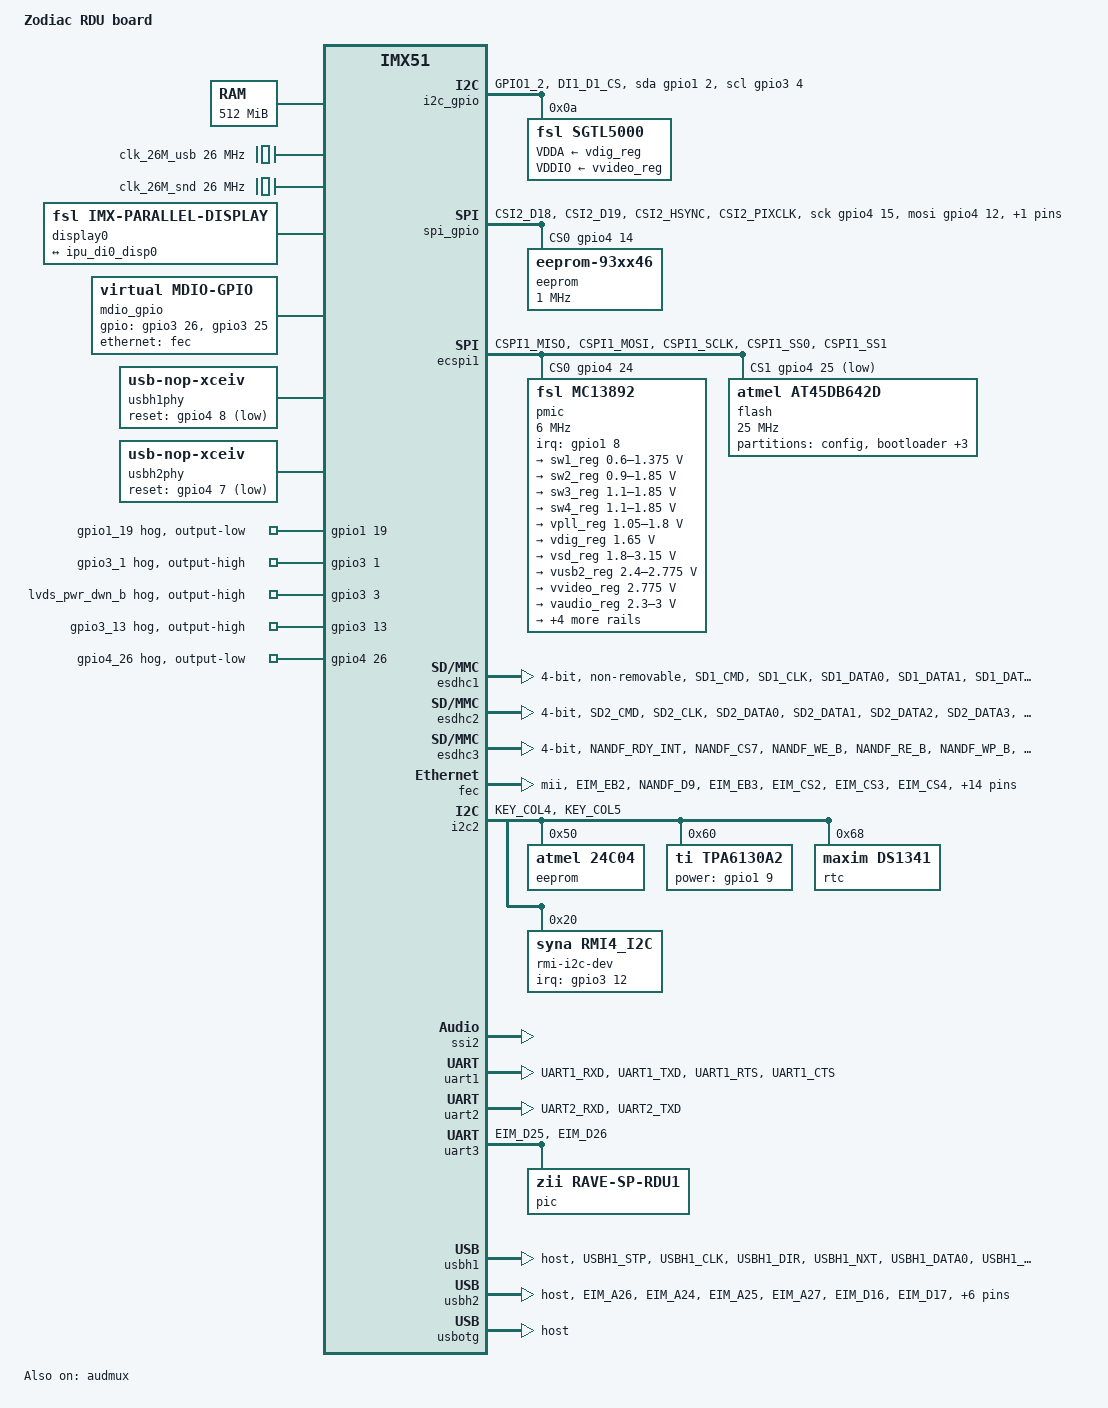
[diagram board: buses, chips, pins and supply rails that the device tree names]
/*
 * Copyright 2011 Freescale Semiconductor, Inc.
 *
 * The code contained herein is licensed under the GNU General Public
 * License. You may obtain a copy of the GNU General Public License
 * Version 2 or later at the following locations:
 *
 * http://www.opensource.org/licenses/gpl-license.html
 * http://www.gnu.org/copyleft/gpl.html
 */

/dts-v1/;
#include "imx51.dtsi"

/ {
	model = "Zodiac RDU board";
	compatible = "fsl,imx51-zodiac-rdu-c", "fsl,imx51";

	chosen {
		stdout-path = &uart1;
	};

	memory {
		reg = <0x90000000 0x20000000>;
	};

	clocks {
		/*
		 * Actualy this clocks have gpio-controlable parent
		 * and each of them also has gpio-controlable gate.
		 * For now this pins are gpio-hogged and no runtime
		 * clock enable-disable happens.
		 */
		clk_26M_usb: usbhost_clock {
			compatible = "fixed-clock";
			#clock-cells = <0>;
			clock-frequency = <26000000>;
		};

		clk_26M_snd: snd_clock {
			compatible = "fixed-clock";
			#clock-cells = <0>;
			clock-frequency = <26000000>;
		};
	};

	display0: display@di0 {
		compatible = "fsl,imx-parallel-display";
		interface-pix-fmt = "rgb24";
		pinctrl-names = "default";
		pinctrl-0 = <&pinctrl_ipu_disp1>;

		display-timings {
			native-mode = <&toshiba>;
			toshiba: toshiba89 {
				clock-frequency = <80000000>;
				hactive = <1280>;
				vactive = <768>;
				hback-porch = <64>; /* 192 - 128 */
				hsync-len = <128>;
				hfront-porch = <64>;
				vback-porch = <13>; /* 20 - 7 */
				vsync-len = <7>;
				vfront-porch = <3>;
				pixelclk-active = <0>;
				hsync-active = <1>;
				vsync-active = <1>;
				de-active = <0>;
			};
		};

		port {
			display0_in: endpoint {
				remote-endpoint = <&ipu_di0_disp0>;
			};
		};
	};

	regulators {
		compatible = "simple-bus";
		#address-cells = <1>;
		#size-cells = <0>;
	};

	i2c_gpio: i2c-gpio {
		compatible = "i2c-gpio";
		pinctrl-names = "default";
		pinctrl-0 = <&pinctrl_swi2c>;
		gpios = <&gpio1 2 GPIO_ACTIVE_HIGH>, /* sda */
			<&gpio3 4 GPIO_ACTIVE_HIGH>; /* scl */
		i2c-gpio,scl-output-only;
		i2c-gpio,delay-us = <50>;
		#address-cells = <1>;
		#size-cells = <0>;
		status = "okay";

		sgtl5000: codec@0a {
			compatible = "fsl,sgtl5000";
			reg = <0x0a>;
			clocks = <&clk_26M_snd>;
			VDDA-supply = <&vdig_reg>;
			VDDIO-supply = <&vvideo_reg>;
		};
	};

	spi_gpio: spi-gpio {
		compatible = "spi-gpio";
		#address-cells = <1>;
		#size-cells = <0>;
		pinctrl-names = "default";
		pinctrl-0 = <&pinctrl_gpiospi0>;
		status = "okay";

		gpio-sck = <&gpio4 15 GPIO_ACTIVE_HIGH>;
		gpio-mosi = <&gpio4 12 GPIO_ACTIVE_HIGH>;
		gpio-miso = <&gpio4 11 GPIO_ACTIVE_HIGH>;
		num-chipselects = <1>;
		cs-gpios = <
			&gpio4 14 GPIO_ACTIVE_HIGH
		>;

		eeprom@0 {
			compatible = "eeprom-93xx46";
			reg = <0>;
			spi-max-frequency = <1000000>;
			spi-cs-high;
			data-size = <8>;
		};
	};

	mdio_gpio: mdio-gpio {
		compatible = "virtual,mdio-gpio";
		pinctrl-names = "default";
		pinctrl-0 = <&pinctrl_swmdio>;
		gpios = <&gpio3 26 GPIO_ACTIVE_HIGH>, /* mdc */
			<&gpio3 25 GPIO_ACTIVE_HIGH>; /* mdio */
		#address-cells = <1>;
		#size-cells = <0>;

		switch@0 {
			compatible = "marvell,mv88e6085";
			#address-cells = <1>;
			#size-cells = <0>;
			reg = <0>;
			dsa,member = <0 0>;

			ports {
				#address-cells = <1>;
				#size-cells = <0>;

				port@0 {
					reg = <0>;
					label = "cpu";
					ethernet = <&fec>;

					fixed-link {
						speed = <100>;
						full-duplex;
					};
				};

				port@1 {
					reg = <1>;
					label = "netaux";
				};

				port@3 {
					reg = <3>;
					label = "netright";
				};

				port@4 {
					reg = <4>;
					label = "netleft";
				};
			};
		};
	};

	sound {
		compatible = "fsl,imx51-babbage-sgtl5000",
			     "fsl,imx-audio-sgtl5000";
		model = "imx51-babbage-sgtl5000";
		ssi-controller = <&ssi2>;
		audio-codec = <&sgtl5000>;
		headphone-amplifier = <&tpa6130a2>;
		audio-routing =
			"MIC_IN", "Mic Jack",
			"Mic Jack", "Mic Bias",
			"Headphone Jack", "HP_OUT";
		mux-int-port = <2>;
		mux-ext-port = <3>;
	};

	usbphy {
		#address-cells = <1>;
		#size-cells = <0>;
		compatible = "simple-bus";

		usbh1phy: usbphy@1 {
			compatible = "usb-nop-xceiv";
			pinctrl-names = "default";
			pinctrl-0 = <&pinctrl_usbh1phy>;
			reg = <1>;
			clocks = <&clk_26M_usb>;
			clock-names = "main_clk";
			reset-gpios = <&gpio4 8 GPIO_ACTIVE_LOW>;
		};

		usbh2phy: usbphy@2 {
			compatible = "usb-nop-xceiv";
			pinctrl-names = "default";
			pinctrl-0 = <&pinctrl_usbh2phy>;
			reg = <2>;
			clocks = <&clk_26M_usb>;
			clock-names = "main_clk";
			reset-gpios = <&gpio4 7 GPIO_ACTIVE_LOW>;
		};
	};
};

&audmux {
	pinctrl-names = "default";
	pinctrl-0 = <&pinctrl_audmux>;
	status = "okay";
};

&ecspi1 {
	pinctrl-names = "default";
	pinctrl-0 = <&pinctrl_ecspi1>;
	fsl,spi-num-chipselects = <2>;
	cs-gpios = <&gpio4 24 GPIO_ACTIVE_HIGH>,
		   <&gpio4 25 GPIO_ACTIVE_LOW>;
	status = "okay";

	pmic: mc13892@0 {
		compatible = "fsl,mc13892";
		pinctrl-names = "default";
		pinctrl-0 = <&pinctrl_pmic>;
		spi-max-frequency = <6000000>;
		spi-cs-high;
		reg = <0>;
		interrupt-parent = <&gpio1>;
		interrupts = <8 IRQ_TYPE_LEVEL_HIGH>;
		fsl,mc13xxx-uses-rtc;
		fsl,mc13xxx-uses-adc;

		regulators {
			sw1_reg: sw1 {
				regulator-min-microvolt = <600000>;
				regulator-max-microvolt = <1375000>;
				regulator-boot-on;
				regulator-always-on;
			};

			sw2_reg: sw2 {
				regulator-min-microvolt = <900000>;
				regulator-max-microvolt = <1850000>;
				regulator-boot-on;
				regulator-always-on;
			};

			sw3_reg: sw3 {
				regulator-min-microvolt = <1100000>;
				regulator-max-microvolt = <1850000>;
				regulator-boot-on;
				regulator-always-on;
			};

			sw4_reg: sw4 {
				regulator-min-microvolt = <1100000>;
				regulator-max-microvolt = <1850000>;
				regulator-boot-on;
				regulator-always-on;
			};

			vpll_reg: vpll {
				regulator-min-microvolt = <1050000>;
				regulator-max-microvolt = <1800000>;
				regulator-boot-on;
				regulator-always-on;
			};

			vdig_reg: vdig {
				regulator-min-microvolt = <1650000>;
				regulator-max-microvolt = <1650000>;
				regulator-boot-on;
			};

			vsd_reg: vsd {
				regulator-min-microvolt = <1800000>;
				regulator-max-microvolt = <3150000>;
			};

			vusb2_reg: vusb2 {
				regulator-min-microvolt = <2400000>;
				regulator-max-microvolt = <2775000>;
				regulator-boot-on;
				regulator-always-on;
			};

			vvideo_reg: vvideo {
				regulator-min-microvolt = <2775000>;
				regulator-max-microvolt = <2775000>;
			};

			vaudio_reg: vaudio {
				regulator-min-microvolt = <2300000>;
				regulator-max-microvolt = <3000000>;
			};

			vcam_reg: vcam {
				regulator-min-microvolt = <2500000>;
				regulator-max-microvolt = <3000000>;
			};

			vgen1_reg: vgen1 {
				regulator-min-microvolt = <1200000>;
				regulator-max-microvolt = <1200000>;
			};

			vgen2_reg: vgen2 {
				regulator-min-microvolt = <1200000>;
				regulator-max-microvolt = <3150000>;
				regulator-always-on;
			};

			vgen3_reg: vgen3 {
				regulator-min-microvolt = <1800000>;
				regulator-max-microvolt = <2900000>;
				regulator-always-on;
			};
		};

		leds {
			#address-cells = <1>;
			#size-cells = <0>;
			led-control = <0x0 0x0 0x3f83f8 0x0>;

			sysled0 {
				reg = <3>;
				label = "system:green:status";
				linux,default-trigger = "default-on";
			};

			sysled1 {
				reg = <4>;
				label = "system:green:act";
				linux,default-trigger = "heartbeat";
			};
		};
	};

	flash: at45db642d@1 {
		#address-cells = <1>;
		#size-cells = <1>;
		compatible = "atmel,at45db642d", "atmel,at45", "atmel,dataflash";
		spi-max-frequency = <25000000>;
		reg = <1>;

		partition@0 {
			label = "config";
			reg = <0x0 0x00000400>;
		};

		partition@400 {
			label = "bootloader";
			reg = <0x00000400 0x000BFC00>;
		};

		partition@c000 {
			label = "bootloader-environment";
			reg = <0x000c0000 0x00040000>;
		};

		partition@100000 {
			label = "kernel";
			reg = <0x00100000 0x00300000>;
		};

		partition@400000 {
			label = "rootfs";
			reg = <0x00400000 0x00400000>;
		};
	};
};

/* eMMC */
&esdhc1 {
	pinctrl-names = "default";
	pinctrl-0 = <&pinctrl_esdhc1>;
	bus-width = <4>;
	non-removable;
	status = "okay";
};

&esdhc2 {
	pinctrl-names = "default";
	pinctrl-0 = <&pinctrl_esdhc2>;
	bus-width = <4>;
	cd-gpios = <&gpio1 6 GPIO_ACTIVE_LOW>;
	wp-gpios = <&gpio1 5 GPIO_ACTIVE_HIGH>;
	status = "okay";
};

&esdhc3 {
	pinctrl-names = "default";
	pinctrl-0 = <&pinctrl_esdhc3>;
	bus-width = <4>;
	cd-gpios = <&gpio1 0 GPIO_ACTIVE_LOW>;
	wp-gpios = <&gpio1 1 GPIO_ACTIVE_HIGH>;
	status = "okay";
};

&fec {
	pinctrl-names = "default";
	pinctrl-0 = <&pinctrl_fec>;
	phy-mode = "mii";
	phy-reset-gpios = <&gpio2 14 GPIO_ACTIVE_LOW>;
	status = "okay";

//	fec_mdio: mdio {
//		#address-cells = <1>;
//		#size-cells = <0>;
//		status = "okay";
//	};
};

&i2c2 {
	pinctrl-names = "default";
	pinctrl-0 = <&pinctrl_i2c2>;
	status = "okay";

	eeprom@50 {
		compatible = "atmel,24c04";
		pagesize = <16>;
		reg = <0x50>;
	};

	tpa6130a2: tpa6130a2@60 {
		compatible = "ti,tpa6130a2";
		reg = <0x60>;
		pinctrl-names = "default";
		pinctrl-0 = <&pinctrl_ampgpio>;

		/*Vdd-supply = <&vmmc2>;*/
		external-pd;
		power-gpio = <&gpio1 9 GPIO_ACTIVE_HIGH>;
	};

	rtc@68 {
		compatible = "maxim,ds1341";
		reg = <0x68>;
	};

	rmi-i2c-dev@20 {
		compatible = "syna,rmi4_i2c";
		reg = <0x20>;
		#address-cells = <1>;
		#size-cells = <0>;
		pinctrl-names = "default";
		pinctrl-0 = <&pinctrl_ts>;

		interrupt-parent = <&gpio3>;
		interrupts = <12 IRQ_TYPE_EDGE_FALLING>;

		rmi4-f01@1 {
			reg = <0x1>;
			syna,nosleep-mode = <1>;
		};

		rmi4-f11@11 {
			reg = <0x11>;
			touch-inverted-y;
			touch-swapped-x-y;
			syna,sensor-type = <1>;
		};
	};

};

&ipu_di0_disp0 {
	remote-endpoint = <&display0_in>;
};

&ssi2 {
	status = "okay";
};

&uart1 {
	pinctrl-names = "default";
	pinctrl-0 = <&pinctrl_uart1>;
	status = "okay";
};

&uart2 {
	pinctrl-names = "default";
	pinctrl-0 = <&pinctrl_uart2>;
	status = "okay";
};

&uart3 {
	pinctrl-names = "default";
	pinctrl-0 = <&pinctrl_uart3>;
	status = "okay";

	pic {
		compatible = "zii,rave-sp-rdu1", "simple-mfd";
		status = "okay";
		current-speed = <38400>;

		main_eeprom {
			compatible = "zii,pic-main-eeprom";
			#address-cells = <1>;
			#size-cells = <1>;
			status = "okay";

			boot_source: boot-source@83 {
				reg = <0x83 1>;
			};
			max_failed_boots: max-failed-boots@8E {
				reg = <0x8E 2>;
			};
		};

		dds_eeprom {
			compatible = "zii,pic-dds-eeprom";
			#address-cells = <1>;
			#size-cells = <1>;
			status = "okay";
		};

		watchdog {
			compatible = "zii,rave-sp-watchdog";
			status = "okay";
		};

		hwmon {
			compatible = "zii,pic-hwmon";
			sensors = "RMB_3V3_PMIC",
			"RMB_3V3_MCU",
			"RMB_5V_MAIN",
			"RMB_12V_MAIN",
			"RMB_28V_FIL",
			"RMB_28V_HOTSWAP",
			"DEB_1V8",
			"DEB_3V3",
			"DEB_28V_DEB",
			"DEB_28V_RDU",
			"TEMPERATURE",
			"TEMPERATURE_2",
			"RMB_28V_CURRENT";
			status = "okay";
		};
		backlight {
			compatible = "zii,pic-backlight";
			status = "okay";
		};

		leds {
			compatible = "zii,pic-leds";
			status = "okay";
		};

		pwrbutton {
			compatible = "zii,pic-pwrbutton";
			status = "okay";
		};
	};
};

&usbh1 {
	pinctrl-names = "default";
	pinctrl-0 = <&pinctrl_usbh1>;
	dr_mode = "host";
	phy_type = "ulpi";
	fsl,usbphy = <&usbh1phy>;
	disable-over-current;
	status = "okay";
};

&usbh2 {
	pinctrl-names = "default";
	pinctrl-0 = <&pinctrl_usbh2>;
	dr_mode = "host";
	phy_type = "ulpi";
	fsl,usbphy = <&usbh2phy>;
	disable-over-current;
	status = "okay";
};

&usbotg {
	dr_mode = "host";
	disable-over-current;
	phy_type = "utmi_wide";
	status = "okay";
};

&iomuxc {
	pinctrl-names = "default";
	pinctrl-0 = <&pinctrl_hog &pinctrl_clk26mhz &pinctrl_usbgate26mhz &pinctrl_sndgate26mhz>;

	imx51-zodiac-rdu {
		/* done */
		pinctrl_pmic: pmicgrp {
			fsl,pins = <
				MX51_PAD_GPIO1_4__GPIO1_4		MX51_PAD_CTRL_9 /* WDOG_B */
				MX51_PAD_GPIO1_8__GPIO1_8		MX51_PAD_CTRL_6 /* IRQ */
			>;
		};

		/* done */
		pinctrl_uart1: uart1grp {
			fsl,pins = <
				MX51_PAD_UART1_RXD__UART1_RXD		(MX51_UART1_PAD_CTRL | PAD_CTL_SRE_FAST)
				MX51_PAD_UART1_TXD__UART1_TXD		(MX51_UART1_PAD_CTRL | PAD_CTL_SRE_FAST)
				MX51_PAD_UART1_RTS__UART1_RTS		MX51_UART1_PAD_CTRL
				MX51_PAD_UART1_CTS__UART1_CTS		MX51_UART1_PAD_CTRL
			>;
		};

		/* done */
		pinctrl_uart2: uart2grp {
			fsl,pins = <
				MX51_PAD_UART2_RXD__UART2_RXD		MX51_UART2_PAD_CTRL
				MX51_PAD_UART2_TXD__UART2_TXD		MX51_UART2_PAD_CTRL
			>;
		};

		/* done */
		pinctrl_uart3: uart3grp {
			fsl,pins = <
				MX51_PAD_EIM_D25__UART3_RXD		0x1c5 /*MX51_UART3_PAD_CTRL*/
				MX51_PAD_EIM_D26__UART3_TXD		0x1c5 /*MX51_UART3_PAD_CTRL*/
			>;
		};

		/* done */
		pinctrl_usbh1: usbh1grp {
			fsl,pins = <
				MX51_PAD_USBH1_STP__USBH1_STP		MX51_USBH1_PAD_CTRL
				MX51_PAD_USBH1_CLK__USBH1_CLK		MX51_USBH1_PAD_CTRL
				MX51_PAD_USBH1_DIR__USBH1_DIR		MX51_USBH1_PAD_CTRL
				MX51_PAD_USBH1_NXT__USBH1_NXT		MX51_USBH1_PAD_CTRL
				MX51_PAD_USBH1_DATA0__USBH1_DATA0	MX51_USBH1_PAD_CTRL
				MX51_PAD_USBH1_DATA1__USBH1_DATA1	MX51_USBH1_PAD_CTRL
				MX51_PAD_USBH1_DATA2__USBH1_DATA2	MX51_USBH1_PAD_CTRL
				MX51_PAD_USBH1_DATA3__USBH1_DATA3	MX51_USBH1_PAD_CTRL
				MX51_PAD_USBH1_DATA4__USBH1_DATA4	MX51_USBH1_PAD_CTRL
				MX51_PAD_USBH1_DATA5__USBH1_DATA5	MX51_USBH1_PAD_CTRL
				MX51_PAD_USBH1_DATA6__USBH1_DATA6	MX51_USBH1_PAD_CTRL
				MX51_PAD_USBH1_DATA7__USBH1_DATA7	MX51_USBH1_PAD_CTRL
			>;
		};

		/* done */
		pinctrl_usbh2: usbh2grp {
			fsl,pins = <
				MX51_PAD_EIM_A26__USBH2_STP		MX51_USBH2_PAD_CTRL
				MX51_PAD_EIM_A24__USBH2_CLK		MX51_USBH2_PAD_CTRL
				MX51_PAD_EIM_A25__USBH2_DIR		MX51_USBH2_PAD_CTRL
				MX51_PAD_EIM_A27__USBH2_NXT		MX51_USBH2_PAD_CTRL
				MX51_PAD_EIM_D16__USBH2_DATA0		MX51_USBH2_PAD_CTRL
				MX51_PAD_EIM_D17__USBH2_DATA1		MX51_USBH2_PAD_CTRL
				MX51_PAD_EIM_D18__USBH2_DATA2		MX51_USBH2_PAD_CTRL
				MX51_PAD_EIM_D19__USBH2_DATA3		MX51_USBH2_PAD_CTRL
				MX51_PAD_EIM_D20__USBH2_DATA4		MX51_USBH2_PAD_CTRL
				MX51_PAD_EIM_D21__USBH2_DATA5		MX51_USBH2_PAD_CTRL
				MX51_PAD_EIM_D22__USBH2_DATA6		MX51_USBH2_PAD_CTRL
				MX51_PAD_EIM_D23__USBH2_DATA7		MX51_USBH2_PAD_CTRL
			>;
		};

		/* done */
		pinctrl_clk26mhz: clk26mhzgrp {
			fsl,pins = <
				MX51_PAD_DI1_PIN12__GPIO3_1		MX51_GPIO_PAD_CTRL
			>;
		};

		/* done */
		pinctrl_usbgate26mhz: usbgate26mhzgrp {
			fsl,pins = <
				MX51_PAD_DISP2_DAT6__GPIO1_19		MX51_GPIO_PAD_CTRL
			>;
		};

		/* done */
		pinctrl_sndgate26mhz: sndgate26mhzgrp {
			fsl,pins = <
				MX51_PAD_CSPI1_RDY__GPIO4_26		MX51_GPIO_PAD_CTRL
			>;
		};

		/* done */
		pinctrl_usbh1phy: usbh1phygrp {
			fsl,pins = <
				MX51_PAD_NANDF_D0__GPIO4_8		MX51_GPIO_PAD_CTRL
			>;
		};

		/* done */
		pinctrl_usbh2phy: usbh2phygrp {
			fsl,pins = <
				MX51_PAD_NANDF_D1__GPIO4_7		MX51_GPIO_PAD_CTRL
			>;
		};

		/* done */
		pinctrl_fec: fecgrp {
			fsl,pins = <
				MX51_PAD_EIM_EB2__FEC_MDIO		(MX51_PAD_CTRL_1 | PAD_CTL_PUS_22K_UP)
				MX51_PAD_NANDF_D9__FEC_RDATA0		(MX51_PAD_CTRL_2 | PAD_CTL_HVE_LOW | PAD_CTL_DVS)
				MX51_PAD_EIM_EB3__FEC_RDATA1		MX51_PAD_CTRL_2
				MX51_PAD_EIM_CS2__FEC_RDATA2		MX51_PAD_CTRL_2
				MX51_PAD_EIM_CS3__FEC_RDATA3		MX51_PAD_CTRL_2
				MX51_PAD_EIM_CS4__FEC_RX_ER		MX51_PAD_CTRL_2
				MX51_PAD_NANDF_D11__FEC_RX_DV		(PAD_CTL_HVE_LOW | PAD_CTL_PKE | PAD_CTL_DSE_HIGH)
				MX51_PAD_EIM_CS5__FEC_CRS		MX51_PAD_CTRL_2
				MX51_PAD_NANDF_RB2__FEC_COL		(MX51_PAD_CTRL_2 | PAD_CTL_HVE_LOW)
				MX51_PAD_NANDF_RB3__FEC_RX_CLK		(MX51_PAD_CTRL_2 | PAD_CTL_HVE_LOW)
				MX51_PAD_NANDF_CS2__FEC_TX_ER		(PAD_CTL_HVE_LOW | PAD_CTL_DVS | PAD_CTL_DSE_HIGH)
				MX51_PAD_NANDF_CS3__FEC_MDC		(PAD_CTL_HVE_LOW | PAD_CTL_DVS | PAD_CTL_DSE_HIGH)
				MX51_PAD_NANDF_D8__FEC_TDATA0		(PAD_CTL_HVE_LOW | PAD_CTL_DVS | PAD_CTL_HYS | PAD_CTL_PKE)
				MX51_PAD_NANDF_CS4__FEC_TDATA1		(PAD_CTL_HVE_LOW | PAD_CTL_DVS | PAD_CTL_DSE_HIGH)
				MX51_PAD_NANDF_CS5__FEC_TDATA2		(PAD_CTL_HVE_LOW | PAD_CTL_DVS | PAD_CTL_DSE_HIGH)
				MX51_PAD_NANDF_CS6__FEC_TDATA3		(PAD_CTL_HVE_LOW | PAD_CTL_DVS | PAD_CTL_DSE_HIGH)
				MX51_PAD_DISP2_DAT9__FEC_TX_EN		(PAD_CTL_HVE_LOW | PAD_CTL_DVS | PAD_CTL_DSE_HIGH)
				MX51_PAD_DISP2_DAT13__FEC_TX_CLK	(PAD_CTL_HVE_LOW | PAD_CTL_DVS | PAD_CTL_HYS | PAD_CTL_PKE)
				/* reset */
				MX51_PAD_EIM_A20__GPIO2_14		MX51_GPIO_PAD_CTRL
			>;
		};

		/* done */
		pinctrl_i2c2: i2c2grp {
			fsl,pins = <
				MX51_PAD_KEY_COL4__I2C2_SCL		MX51_I2C2_PAD_CTRL
				MX51_PAD_KEY_COL5__I2C2_SDA		MX51_I2C2_PAD_CTRL
			>;
		};

		/* done */
		pinctrl_esdhc1: esdhc1grp {
			fsl,pins = <
				MX51_PAD_SD1_CMD__SD1_CMD		(MX51_SDHC1_PAD_CTRL | (1 << 30))
				MX51_PAD_SD1_CLK__SD1_CLK		MX51_SDHC1_PAD_CTRL
				MX51_PAD_SD1_DATA0__SD1_DATA0		MX51_SDHC1_PAD_CTRL
				MX51_PAD_SD1_DATA1__SD1_DATA1		MX51_SDHC1_PAD_CTRL
				MX51_PAD_SD1_DATA2__SD1_DATA2		MX51_SDHC1_PAD_CTRL
				MX51_PAD_SD1_DATA3__SD1_DATA3		MX51_SDHC1_PAD_CTRL
			>;
		};

		/* done */
		pinctrl_esdhc2: esdhc2grp {
			fsl,pins = <
				MX51_PAD_SD2_CMD__SD2_CMD		(MX51_SDHC2_PAD_CTRL | (1 << 30))
				MX51_PAD_SD2_CLK__SD2_CLK		MX51_SDHC2_PAD_CTRL
				MX51_PAD_SD2_DATA0__SD2_DATA0		MX51_SDHC2_PAD_CTRL
				MX51_PAD_SD2_DATA1__SD2_DATA1		MX51_SDHC2_PAD_CTRL
				MX51_PAD_SD2_DATA2__SD2_DATA2		MX51_SDHC2_PAD_CTRL
				MX51_PAD_SD2_DATA3__SD2_DATA3		MX51_SDHC2_PAD_CTRL
				/* CD and WP */
				MX51_PAD_GPIO1_6__GPIO1_6		0x100
				MX51_PAD_GPIO1_5__GPIO1_5		0x100
			>;
		};

		/* done */
		pinctrl_esdhc3: esdhc3grp {
			fsl,pins = <
				MX51_PAD_NANDF_RDY_INT__SD3_CMD		(MX51_NVCC_NANDF_B_PAD_CTRL | (1 << 30))
				MX51_PAD_NANDF_CS7__SD3_CLK		MX51_NVCC_NANDF_B_PAD_CTRL
				MX51_PAD_NANDF_WE_B__SD3_DATA0		MX51_NVCC_NANDF_A_PAD_CTRL
				MX51_PAD_NANDF_RE_B__SD3_DATA1		MX51_NVCC_NANDF_A_PAD_CTRL
				MX51_PAD_NANDF_WP_B__SD3_DATA2		MX51_NVCC_NANDF_A_PAD_CTRL
				MX51_PAD_NANDF_RB0__SD3_DATA3		MX51_NVCC_NANDF_A_PAD_CTRL
				/* CD and WP */
				MX51_PAD_GPIO1_0__GPIO1_0		0x100
				MX51_PAD_GPIO1_1__GPIO1_1		0x100
			>;
		};

		pinctrl_audmux: audmuxgrp {
			fsl,pins = <
				MX51_PAD_AUD3_BB_TXD__AUD3_TXD		MX51_AUD_PAD_CTRL
				MX51_PAD_AUD3_BB_RXD__AUD3_RXD		MX51_AUD_PAD_CTRL
				MX51_PAD_AUD3_BB_CK__AUD3_TXC		MX51_AUD_PAD_CTRL
				MX51_PAD_AUD3_BB_FS__AUD3_TXFS		MX51_AUD_PAD_CTRL
			>;
		};

		/* done */
		pinctrl_ecspi1: ecspi1grp {
			fsl,pins = <
				MX51_PAD_CSPI1_MISO__ECSPI1_MISO	0x185
				MX51_PAD_CSPI1_MOSI__ECSPI1_MOSI	0x185
				MX51_PAD_CSPI1_SCLK__ECSPI1_SCLK	0x185
				MX51_PAD_CSPI1_SS0__GPIO4_24		0x85 /* CS0 */
				MX51_PAD_CSPI1_SS1__GPIO4_25		0x85 /* CS1 */
			>;
		};

		/* done */
		pinctrl_gpiospi0: gpiospi0grp {
			fsl,pins = <
				MX51_PAD_CSI2_D18__GPIO4_11		0x0 /* ? */
				MX51_PAD_CSI2_D19__GPIO4_12		0x0
				MX51_PAD_CSI2_HSYNC__GPIO4_14		0x0
				MX51_PAD_CSI2_PIXCLK__GPIO4_15		0x0
			>;
		};

		/* gpio i2c */
		pinctrl_swi2c: swi2cgrp {
			fsl,pins = <
				MX51_PAD_GPIO1_2__GPIO1_2		0xc5
				MX51_PAD_DI1_D1_CS__GPIO3_4		0x1f5
			/*
				MX51_PAD_GPIO1_2__GPIO1_2		(MX51_GPIO_PAD_CTRL | PAD_CTL_ODE)
				MX51_PAD_DI1_D1_CS__GPIO3_4		(MX51_GPIO_PAD_CTRL | PAD_CTL_ODE)
			*/
			/*
				MX51_PAD_GPIO1_2__GPIO1_2		NO_PAD_CTRL
				MX51_PAD_DI1_D1_CS__GPIO3_4		MX51_PAD_CTRL_7
			*/
			>;
		};

		/* gpio mdio */
		pinctrl_swmdio: swmdiogrp {
			fsl,pins = <
				MX51_PAD_NANDF_D14__GPIO3_26		MX51_NVCC_NANDF_B_PAD_CTRL
				MX51_PAD_NANDF_D15__GPIO3_25		MX51_NVCC_NANDF_B_PAD_CTRL
			>;
		};

		/* amp power down gpio */
		pinctrl_ampgpio: ampgpiogrp {
			fsl,pins = <
				/* HP_AMP_SHUTDOWN_B */
				MX51_PAD_GPIO1_9__GPIO1_9		0x5e /*(MX51_GPIO_PAD_CTRL | PAD_CTL_ODE)*/
			>;
		};

		pinctrl_ipu_disp1: ipudisp1grp {
			fsl,pins = <
				MX51_PAD_DISP1_DAT0__DISP1_DAT0		MX51_DISP_CTRL
				MX51_PAD_DISP1_DAT1__DISP1_DAT1		MX51_DISP_CTRL
				MX51_PAD_DISP1_DAT2__DISP1_DAT2		MX51_DISP_CTRL
				MX51_PAD_DISP1_DAT3__DISP1_DAT3		MX51_DISP_CTRL
				MX51_PAD_DISP1_DAT4__DISP1_DAT4		MX51_DISP_CTRL
				MX51_PAD_DISP1_DAT5__DISP1_DAT5		MX51_DISP_CTRL
				MX51_PAD_DISP1_DAT6__DISP1_DAT6		MX51_DISP_CTRL
				MX51_PAD_DISP1_DAT7__DISP1_DAT7		MX51_DISP_CTRL
				MX51_PAD_DISP1_DAT8__DISP1_DAT8		MX51_DISP_CTRL
				MX51_PAD_DISP1_DAT9__DISP1_DAT9		MX51_DISP_CTRL
				MX51_PAD_DISP1_DAT10__DISP1_DAT10	MX51_DISP_CTRL
				MX51_PAD_DISP1_DAT11__DISP1_DAT11	MX51_DISP_CTRL
				MX51_PAD_DISP1_DAT12__DISP1_DAT12	MX51_DISP_CTRL
				MX51_PAD_DISP1_DAT13__DISP1_DAT13	MX51_DISP_CTRL
				MX51_PAD_DISP1_DAT14__DISP1_DAT14	MX51_DISP_CTRL
				MX51_PAD_DISP1_DAT15__DISP1_DAT15	MX51_DISP_CTRL
				MX51_PAD_DISP1_DAT16__DISP1_DAT16	MX51_DISP_CTRL
				MX51_PAD_DISP1_DAT17__DISP1_DAT17	MX51_DISP_CTRL
				MX51_PAD_DISP1_DAT18__DISP1_DAT18	MX51_DISP_CTRL
				MX51_PAD_DISP1_DAT19__DISP1_DAT19	MX51_DISP_CTRL
				MX51_PAD_DISP1_DAT20__DISP1_DAT20	MX51_DISP_CTRL
				MX51_PAD_DISP1_DAT21__DISP1_DAT21	MX51_DISP_CTRL
				MX51_PAD_DISP1_DAT22__DISP1_DAT22	MX51_DISP_CTRL
				MX51_PAD_DISP1_DAT23__DISP1_DAT23	MX51_DISP_CTRL
				MX51_PAD_DI1_PIN2__DI1_PIN2		MX51_DISP_CTRL
				MX51_PAD_DI1_PIN3__DI1_PIN3		MX51_DISP_CTRL
				MX51_PAD_DI2_DISP_CLK__DI2_DISP_CLK	MX51_DISP_CTRL
				/* MX51_PAD_DI1_PIN15__DI1_PIN15		MX51_DISP_CTRL fix */
			>;
		};

		pinctrl_csi1: csi1grp {
			fsl,pins = <
				/* ??? */
				MX51_PAD_CSI1_D12__CSI1_D12		NO_PAD_CTRL
				MX51_PAD_CSI1_D13__CSI1_D13		NO_PAD_CTRL
				MX51_PAD_CSI1_D14__CSI1_D14		NO_PAD_CTRL
				MX51_PAD_CSI1_D15__CSI1_D15		NO_PAD_CTRL
				MX51_PAD_CSI1_D16__CSI1_D16		NO_PAD_CTRL
				MX51_PAD_CSI1_D17__CSI1_D17		NO_PAD_CTRL
				MX51_PAD_CSI1_D18__CSI1_D18		NO_PAD_CTRL
				MX51_PAD_CSI1_D19__CSI1_D19		NO_PAD_CTRL
				MX51_PAD_CSI1_VSYNC__CSI1_VSYNC		PAD_CTL_SRE_SLOW
				MX51_PAD_CSI1_HSYNC__CSI1_HSYNC		PAD_CTL_SRE_SLOW
				MX51_PAD_CSI1_PIXCLK__CSI1_PIXCLK	NO_PAD_CTRL
			>;
		};

		pinctrl_ts: tsgrp {
			fsl,pins = <
				MX51_PAD_CSI1_D8__GPIO3_12		(PAD_CTL_DSE_HIGH | PAD_CTL_SRE_SLOW )
				MX51_PAD_CSI1_D9__GPIO3_13		NO_PAD_CTRL
			>;
		};

		/* gpio, tie to? check */
		pinctrl_hog: hoggrp {
			fsl,pins = <
				MX51_PAD_UART3_RXD__GPIO1_22		MX51_PAD_CTRL_1
				MX51_PAD_UART3_TXD__GPIO1_23		NO_PAD_CTRL

				MX51_PAD_EIM_A16__GPIO2_10		NO_PAD_CTRL
				MX51_PAD_EIM_A17__GPIO2_11		NO_PAD_CTRL
				MX51_PAD_EIM_A21__GPIO2_15		NO_PAD_CTRL
				MX51_PAD_EIM_A22__GPIO2_16		NO_PAD_CTRL

				MX51_PAD_DI1_D0_CS__GPIO3_3		MX51_GPIO_PAD_CTRL
				MX51_PAD_NANDF_D2__GPIO4_6		MX51_NVCC_NANDF_C_PAD_CTRL
				MX51_PAD_NANDF_D3__GPIO4_5		MX51_NVCC_NANDF_C_PAD_CTRL
				MX51_PAD_NANDF_D4__GPIO4_4		MX51_NVCC_NANDF_C_PAD_CTRL
				MX51_PAD_NANDF_D5__GPIO4_3		MX51_NVCC_NANDF_C_PAD_CTRL
				MX51_PAD_NANDF_D12__GPIO3_28		(PAD_CTL_HVE_LOW  | PAD_CTL_HYS | PAD_CTL_PKE | PAD_CTL_PUE | PAD_CTL_PUS_22K_UP | PAD_CTL_DSE_MAX)

				MX51_PAD_CSI2_D12__GPIO4_9		MX51_PAD_CTRL_7
				MX51_PAD_CSI2_VSYNC__GPIO4_13		NO_PAD_CTRL

				MX51_PAD_OWIRE_LINE__GPIO1_24		NO_PAD_CTRL
			>;
		};
	};
};

&gpio1 {
	/* this gpio gates 26MHz clock to USB phys */
	gpio1_19 {
		gpio-hog;
		gpios = <19 GPIO_ACTIVE_HIGH>;
		output-low;
	};
};

&gpio3 {
	/* this gpio enables 26MHz oscilator */
	gpio3_1 {
		gpio-hog;
		gpios = <1 GPIO_ACTIVE_HIGH>;
		output-high;
	};

	gpio3_3 {
		gpio-hog;
		export;
		gpios = <3 GPIO_ACTIVE_HIGH>;
		output-high;
		line-name = "lvds_pwr_dwn_b";
	};

	gpio3_13 {
		gpio-hog;
		gpios = <13 GPIO_ACTIVE_HIGH>;
		output-high;
	};
};

&gpio4 {
	/* this gpio gates 26MHz clock to audio codec */
	gpio4_26 {
		gpio-hog;
		gpios = <26 GPIO_ACTIVE_HIGH>;
		output-low;
	};
};
